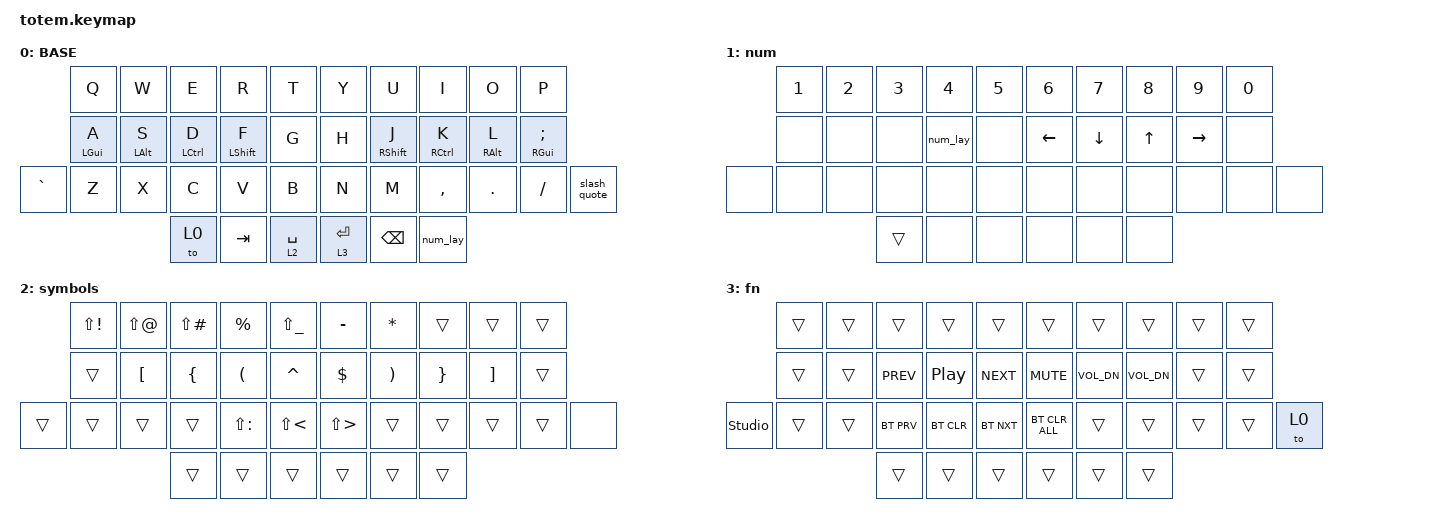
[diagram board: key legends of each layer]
//
//                                                        ▀▀▀▀▀     ▀▀▀▀▀          ▀▀█▀▀
//                                                        ▄▀▀▀▄  ▄  ▄▀▀▀▄  ▄  ▄▀▀▀▄  █  ▄▀▀▀▄
//                                                        █   █  █  █   █  █  █   █  █  █   █
//                                                         ▀▀▀   █   ▀▀▀   █   ▀▀▀   ▀   ▀▀▀
//                                                               █      ▄▄▄█▄▄▄    █   █  
//                                                               ▀      █  █  █     █▄█
//                                                             ▀▀▀▀▀    █  █  █      ▀
//                                                                      ▀  ▀  ▀
//
// ▄▄▄▄▄▄▄▄▄▄▄▄▄▄▄▄▄▄▄▄▄▄▄▄▄▄▄▄▄▄▄▄▄▄▄▄▄▄▄▄▄▄▄▄▄▄▄▄▄▄▄▄▄▄▄▄▄▄▄▄▄▄▄▄▄▄▄▄▄▄▄▄▄▄▄▄▄▄▄▄▄▄▄▄▄▄▄▄▄▄▄▄▄▄▄▄▄▄▄▄▄▄▄▄▄▄▄▄▄▄▄▄▄▄▄▄▄▄▄▄▄▄▄▄▄▄▄▄▄▄▄▄▄▄▄▄▄▄▄▄▄▄▄▄▄▄▄▄▄

#include <behaviors.dtsi>
#include <dt-bindings/zmk/bt.h>
#include <dt-bindings/zmk/keys.h>

#define BASE 0
#define NAV  1
#define SYM  2
#define ADJ  3
#define TVP1 4
#define TVP2 5

&mt {
    quick-tap-ms = <100>;
    global-quick-tap;
    flavor = "tap-preferred";
    tapping-term-ms = <170>;
};

/ {
    combos {
        compatible = "zmk,combos";

        combo_esc {
            bindings = <&kp ESC>;
            key-positions = <14 15>;
        };
    };

    macros {
        gif: gif {
            label = "giphy";
            compatible = "zmk,behavior-macro";
            #binding-cells = <0>;
            bindings =
                <&macro_press>,
                <&kp LSHFT>,
                <&macro_tap>,
                <&kp N2>,
                <&macro_release>,
                <&kp LSHFT>,
                <&macro_tap>,
                <&kp G &kp I &kp F>;
        };
    };

    behaviors {
        hml: hml {
            compatible = "zmk,behavior-hold-tap";
            label = "HML";
            #binding-cells = <2>;
            tapping-term-ms = <280>;
            quick-tap-ms = <175>;
            require-prior-idle-ms = <150>;
            flavor = "balanced";
            hold-trigger-on-release;
            hold-trigger-key-positions = <5 6 8 9 15 16 17 18 19 26 27 28 29 30 31 36 37 7 35>;
            bindings = <&kp>, <&kp>;
        };

        hmr: hmr {
            compatible = "zmk,behavior-hold-tap";
            label = "HMR";
            #binding-cells = <2>;
            tapping-term-ms = <280>;
            quick-tap-ms = <175>;
            require-prior-idle-ms = <150>;
            flavor = "balanced";
            hold-trigger-on-release;
            bindings = <&kp>, <&kp>;

            hold-trigger-key-positions = <0 1 2 3 4 10 11 12 13 14 20 21 22 23 24 25 32 33 34>;
        };

        num_lay: num_lay {
            compatible = "zmk,behavior-tap-dance";
            label = "NUM_LAY";
            #binding-cells = <0>;
            bindings = <&sl 1>, <&to 1>;
        };

        slash_quote: slash_quote {
            compatible = "zmk,behavior-tap-dance";
            label = "SLASH_QUOTE";
            #binding-cells = <0>;
            bindings = <&kp BACKSLASH>, <&kp SQT>;
        };
    };

    keymap {
        compatible = "zmk,keymap";

        // ▄▄▄▄▄▄▄▄▄▄▄▄▄▄▄▄▄▄▄▄▄▄▄▄▄▄▄▄▄▄▄▄▄▄▄▄▄▄▄▄▄▄▄▄▄▄▄▄▄▄▄▄▄▄▄▄▄▄▄▄▄▄▄▄▄▄▄▄▄▄▄▄▄▄▄▄▄▄▄▄▄▄▄▄▄▄▄▄▄▄▄▄▄▄▄▄▄▄▄▄▄▄▄▄▄▄▄▄▄▄▄▄▄▄▄▄▄▄▄▄▄▄▄▄▄▄▄▄▄▄▄▄▄▄▄▄▄▄▄▄▄▄▄▄▄▄▄▄▄

        base_layer {
            // ┏━━━━━━━━━━━━━━━━━━━━━━━━━━━━━━━━━━━━━━━┓

            label = "BASE";

            // ┗━━━━━━━━━━━━━━━━━━━━━━━━━━━━━━━━━━━━━━━┛
            //             ┏━━━━━━━━━━━┳━━━━━━━━━━━┳━━━━━━━━━━━┳━━━━━━━━━━━┳━━━━━━━━━━━┓   ┏━━━━━━━━━━━┳━━━━━━━━━━━┳━━━━━━━━━━━┳━━━━━━━━━━━┳━━━━━━━━━━━┓
            //             ┃     Q     ┃     W     ┃     F     ┃     P     ┃     G     ┃   ┃     J     ┃     L     ┃     U     ┃     Y     ┃     ;     ┃
            //             ┣━━━━━━━━━━━╋━━━━━━━━━━━╋━━━━━━━━━━━╋━━━━━━━━━━━╋━━━━━━━━━━━┫   ┣━━━━━━━━━━━╋━━━━━━━━━━━╋━━━━━━━━━━━╋━━━━━━━━━━━╋━━━━━━━━━━━┫
            //             ┃     A     ┃     R     ┃     S     ┃     T     ┃     D     ┃   ┃     H     ┃     N     ┃     E     ┃     I     ┃     O     ┃
            // ┏━━━━━━━━━━━╋━━━━━━━━━━━╋━━━━━━━━━━━╋━━━━━━━━━━━╋━━━━━━━━━━━╋━━━━━━━━━━━┫   ┣━━━━━━━━━━━╋━━━━━━━━━━━╋━━━━━━━━━━━╋━━━━━━━━━━━╋━━━━━━━━━━━╋━━━━━━━━━━━┓
            // ┃     Q     ┃     Z     ┃     X     ┃     C     ┃     V     ┃     B     ┃   ┃     K     ┃     M     ┃     ,     ┃     .     ┃     /     ┃     \     ┃
            // ┗━━━━━━━━━━━┻━━━━━━━━━━━┻━━━━━━━━━━━╋━━━━━━━━━━━╋━━━━━━━━━━━╋━━━━━━━━━━━┫   ┣━━━━━━━━━━━╋━━━━━━━━━━━╋━━━━━━━━━━━╋━━━━━━━━━━━┻━━━━━━━━━━━┻━━━━━━━━━━━┛
            //                                     ┃    DEL    ┃    TAB    ┃    SPC    ┃   ┃   ENTER   ┃           ┃   BSPC    ┃
            //                                     ┗━━━━━━━━━━━┻━━━━━━━━━━━┻━━━━━━━━━━━┛   ┗━━━━━━━━━━━┻━━━━━━━━━━━┻━━━━━━━━━━━┛

            bindings = <
           &kp Q            &kp W            &kp E                &kp R              &kp T          &kp Y        &kp U               &kp I                 &kp O             &kp P
           &hmr LEFT_GUI A  &hml LEFT_ALT S  &hml LEFT_CONTROL D  &hml LEFT_SHIFT F  &kp G          &kp H        &hmr RIGHT_SHIFT J  &hmr RIGHT_CONTROL K  &hmr RIGHT_ALT L  &hmr RIGHT_GUI SEMICOLON
&kp GRAVE  &kp Z            &kp X            &kp C                &kp V              &kp B          &kp N        &kp M               &kp COMMA             &kp DOT           &kp FSLH                  &slash_quote
                                             &to 0                &kp TAB            &lt 2 SPACE    &lt 3 ENTER  &kp BACKSPACE       &num_lay
            >;
        };

        // ▄▄▄▄▄▄▄▄▄▄▄▄▄▄▄▄▄▄▄▄▄▄▄▄▄▄▄▄▄▄▄▄▄▄▄▄▄▄▄▄▄▄▄▄▄▄▄▄▄▄▄▄▄▄▄▄▄▄▄▄▄▄▄▄▄▄▄▄▄▄▄▄▄▄▄▄▄▄▄▄▄▄▄▄▄▄▄▄▄▄▄▄▄▄▄▄▄▄▄▄▄▄▄▄▄▄▄▄▄▄▄▄▄▄▄▄▄▄▄▄▄▄▄▄▄▄▄▄▄▄▄▄▄▄▄▄▄▄▄▄▄▄▄▄▄▄▄▄▄
        // ▄▄▄▄▄▄▄▄▄▄▄▄▄▄▄▄▄▄▄▄▄▄▄▄▄▄▄▄▄▄▄▄▄▄▄▄▄▄▄▄▄▄▄▄▄▄▄▄▄▄▄▄▄▄▄▄▄▄▄▄▄▄▄▄▄▄▄▄▄▄▄▄▄▄▄▄▄▄▄▄▄▄▄▄▄▄▄▄▄▄▄▄▄▄▄▄▄▄▄▄▄▄▄▄▄▄▄▄▄▄▄▄▄▄▄▄▄▄▄▄▄▄▄▄▄▄▄▄▄▄▄▄▄▄▄▄▄▄▄▄▄▄▄▄▄▄▄▄▄
        // ▄▄▄▄▄▄▄▄▄▄▄▄▄▄▄▄▄▄▄▄▄▄▄▄▄▄▄▄▄▄▄▄▄▄▄▄▄▄▄▄▄▄▄▄▄▄▄▄▄▄▄▄▄▄▄▄▄▄▄▄▄▄▄▄▄▄▄▄▄▄▄▄▄▄▄▄▄▄▄▄▄▄▄▄▄▄▄▄▄▄▄▄▄▄▄▄▄▄▄▄▄▄▄▄▄▄▄▄▄▄▄▄▄▄▄▄▄▄▄▄▄▄▄▄▄▄▄▄▄▄▄▄▄▄▄▄▄▄▄▄▄▄▄▄▄▄▄▄▄
        // ▄▄▄▄▄▄▄▄▄▄▄▄▄▄▄▄▄▄▄▄▄▄▄▄▄▄▄▄▄▄▄▄▄▄▄▄▄▄▄▄▄▄▄▄▄▄▄▄▄▄▄▄▄▄▄▄▄▄▄▄▄▄▄▄▄▄▄▄▄▄▄▄▄▄▄▄▄▄▄▄▄▄▄▄▄▄▄▄▄▄▄▄▄▄▄▄▄▄▄▄▄▄▄▄▄▄▄▄▄▄▄▄▄▄▄▄▄▄▄▄▄▄▄▄▄▄▄▄▄▄▄▄▄▄▄▄▄▄▄▄▄▄▄▄▄▄▄▄▄
        // ▄▄▄▄▄▄▄▄▄▄▄▄▄▄▄▄▄▄▄▄▄▄▄▄▄▄▄▄▄▄▄▄▄▄▄▄▄▄▄▄▄▄▄▄▄▄▄▄▄▄▄▄▄▄▄▄▄▄▄▄▄▄▄▄▄▄▄▄▄▄▄▄▄▄▄▄▄▄▄▄▄▄▄▄▄▄▄▄▄▄▄▄▄▄▄▄▄▄▄▄▄▄▄▄▄▄▄▄▄▄▄▄▄▄▄▄▄▄▄▄▄▄▄▄▄▄▄▄▄▄▄▄▄▄▄▄▄▄▄▄▄▄▄▄▄▄▄▄▄

        num {
            bindings = <
       &kp N1  &kp N2  &kp N3  &kp N4    &kp N5    &kp N6    &kp N7    &kp N8        &kp N9     &kp N0
       &none   &none   &none   &num_lay  &none     &kp LEFT  &kp DOWN  &kp UP_ARROW  &kp RIGHT  &none
&none  &none   &none   &none   &none     &none     &none     &none     &none         &none      &none   &none
                       &trans  &none     &none     &none     &none     &none
            >;
        };

        symbols {
            bindings = <
        &kp LS(EXCL)  &kp LS(AT)        &kp LS(POUND)   &kp PERCENT           &kp LS(UNDER)    &kp MINUS   &kp ASTERISK           &trans           &trans             &trans
        &trans        &kp LEFT_BRACKET  &kp LEFT_BRACE  &kp LEFT_PARENTHESIS  &kp CARET        &kp DOLLAR  &kp RIGHT_PARENTHESIS  &kp RIGHT_BRACE  &kp RIGHT_BRACKET  &trans
&trans  &trans        &trans            &trans          &kp LS(COLON)         &kp LS(LT)       &kp LS(GT)  &trans                 &trans           &trans             &trans  &none
                                        &trans          &trans                &trans           &trans      &trans                 &trans
            >;
        };

        fn {
            bindings = <
                &trans  &trans  &trans      &trans            &trans        &trans          &trans        &trans        &trans  &trans
                &trans  &trans  &kp C_PREV  &kp C_PLAY_PAUSE  &kp C_NEXT    &kp C_MUTE      &kp C_VOL_DN  &kp C_VOL_DN  &trans  &trans
&studio_unlock  &trans  &trans  &bt BT_PRV  &bt BT_CLR        &bt BT_NXT    &bt BT_CLR_ALL  &trans        &trans        &trans  &trans  &to 0
                                &trans      &trans            &trans        &trans          &trans        &trans
            >;
        };
    };
};
